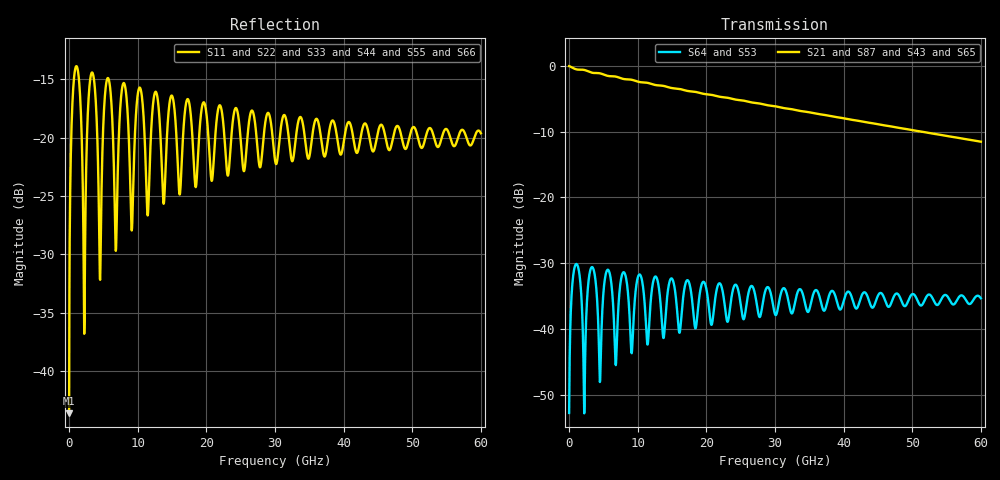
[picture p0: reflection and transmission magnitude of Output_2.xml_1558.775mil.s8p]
# Hz S ri R 50
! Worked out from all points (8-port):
!   1500 points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, 40 MHz to 60 GHz, reference 50 ohm
!   strongest paths, dB at 40 MHz, 15.04 GHz, 30.04 GHz, 45.04 GHz, 60 GHz:
!     S21: 0.0, -3.4, -6.1, -8.9, -11.5
!     S87: 0.0, -3.4, -6.1, -8.9, -11.5
!     S43: 0.0, -3.4, -6.1, -8.9, -11.5
!     S65: 0.0, -3.4, -6.1, -8.9, -11.5
!     S64: -52.7, -32.4, -37.8, -34.9, -35.3
!     S53: -52.7, -32.4, -37.8, -34.9, -35.3
!   lowest |S11| = -43.6 dB at 40 MHz (marker M1), VSWR 1.01, Z = 50.3 - j0.605 ohm
!   |S11| at or under -10 dB: start of sweep to end of sweep
